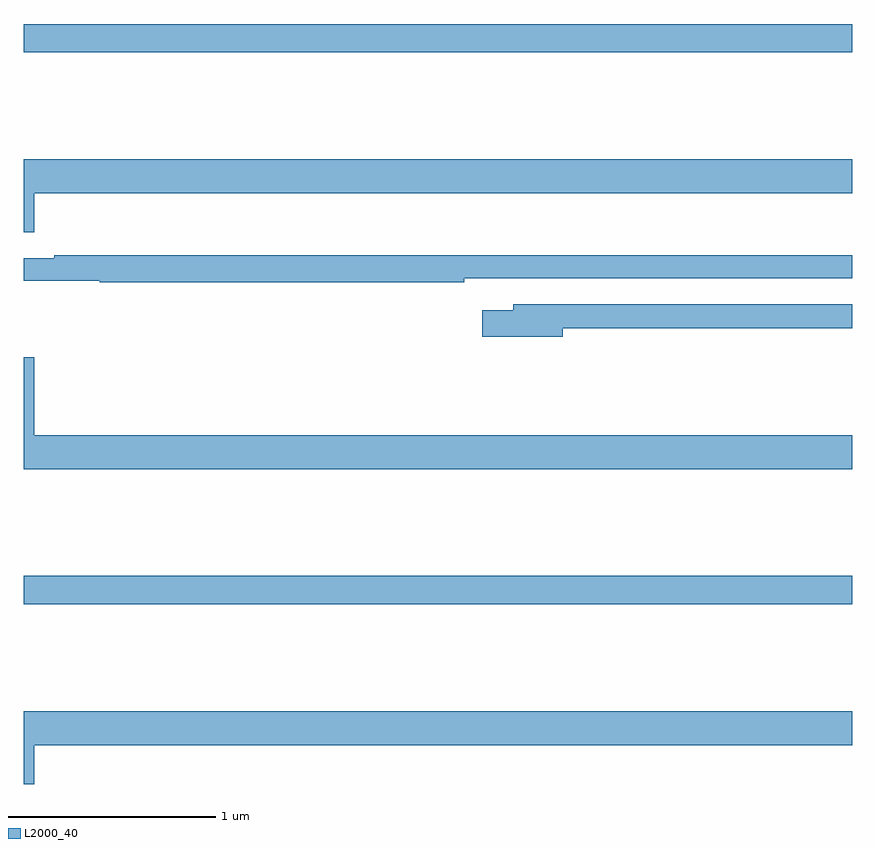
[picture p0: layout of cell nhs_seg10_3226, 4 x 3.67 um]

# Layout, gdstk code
import gdstk
lib = gdstk.Library(unit=1e-6, precision=1e-09)
def R(c, l, rs):  # rectangles x0, y0, x1, y1
    for r in rs: c.add(gdstk.rectangle(r[:2], r[2:], *l))
def P(c, l, *ps):  # polygons
    for p in ps: c.add(gdstk.Polygon(p, *l))
L2000_40 = (2000, 40)

nhs_seg10_3226 = lib.new_cell('nhs_seg10_3226')
R(nhs_seg10_3226, L2000_40, [(285,1315.648,289,1315.784), (285,1318.312,289,1318.448)])
P(nhs_seg10_3226, L2000_40, [(285,1317.444),(285.052,1317.444),(285.052,1317.632),(289,1317.632),(289,1317.796),(285,1317.796)],
  [(287.126,1317.222),(289,1317.222),(289,1317.331),(285.148,1317.331),(285.148,1317.318),(285,1317.318),(285,1317.21),(285.368,1317.21),(285.368,1317.202),(287.126,1317.202)],
  [(287.602,1316.98),(289,1316.98),(289,1317.096),(287.363,1317.096),(287.363,1317.067),(287.214,1317.067),(287.214,1316.938),(287.602,1316.938)],
  [(289,1316.464),(285.052,1316.464),(285.052,1316.839),(285,1316.839),(285,1316.3),(289,1316.3)],
  [(285.052,1314.968),(289,1314.968),(289,1315.132),(285,1315.132),(285,1314.78),(285.052,1314.78)])

lib.write_gds('nhs_seg10_3226.gds')
